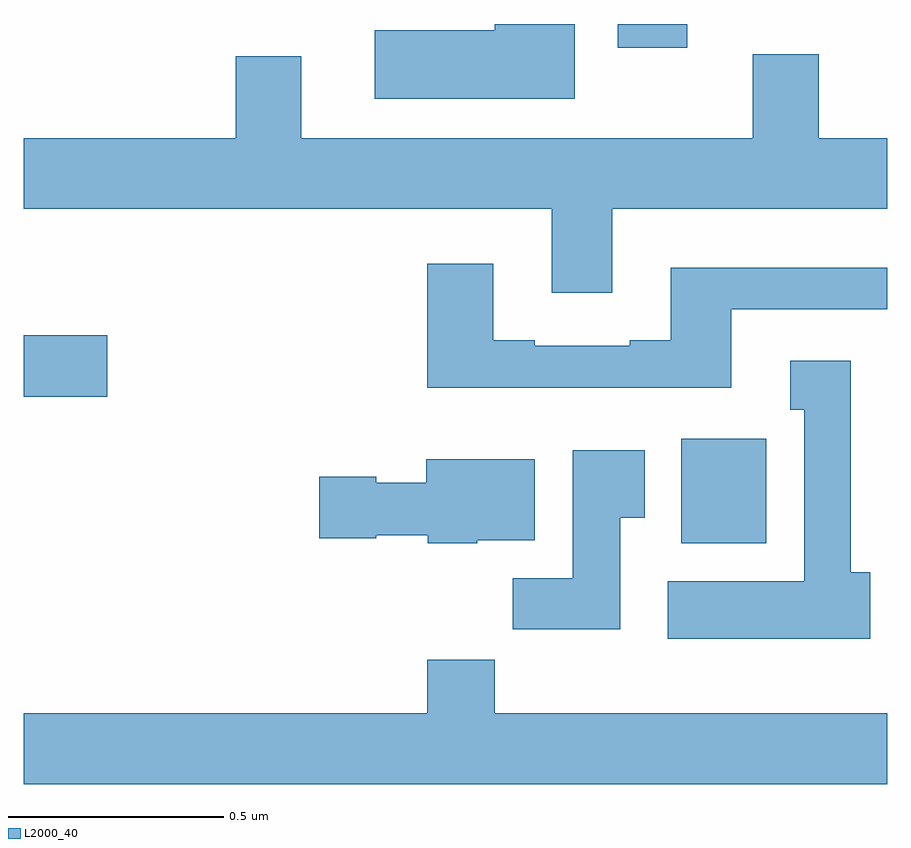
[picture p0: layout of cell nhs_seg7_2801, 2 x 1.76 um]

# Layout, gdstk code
import gdstk
lib = gdstk.Library(unit=1e-6, precision=1e-09)
def R(c, l, rs):  # rectangles x0, y0, x1, y1
    for r in rs: c.add(gdstk.rectangle(r[:2], r[2:], *l))
def P(c, l, *ps):  # polygons
    for p in ps: c.add(gdstk.Polygon(p, *l))
L2000_40 = (2000, 40)

nhs_seg7_2801 = lib.new_cell('nhs_seg7_2801')
R(nhs_seg7_2801, L2000_40, [(151.523,1043.798,151.72,1044.04), (150,1044.137,150.193,1044.279), (151.376,1044.945,151.537,1045)])
P(nhs_seg7_2801, L2000_40, [(151.276,1045),(151.091,1045),(151.091,1044.985),(150.813,1044.985),(150.813,1044.827),(151.276,1044.827)],
  [(151.363,1044.572),(152,1044.572),(152,1044.736),(151.841,1044.736),(151.841,1044.93),(151.688,1044.93),(151.688,1044.736),(150.643,1044.736),(150.643,1044.925),(150.491,1044.925),(150.491,1044.736),(150,1044.736),(150,1044.572),(151.223,1044.572),(151.223,1044.378),(151.363,1044.378)],
  [(151.639,1044.339),(152,1044.339),(152,1044.436),(151.499,1044.436),(151.499,1044.268),(151.403,1044.268),(151.403,1044.255),(151.183,1044.255),(151.183,1044.268),(151.087,1044.268),(151.087,1044.445),(150.935,1044.445),(150.935,1044.158),(151.639,1044.158)],
  [(151.96,1043.73),(151.915,1043.73),(151.915,1044.22),(151.775,1044.22),(151.775,1044.107),(151.808,1044.107),(151.808,1043.71),(151.491,1043.71),(151.491,1043.576),(151.96,1043.576)],
  [(151.381,1043.857),(151.438,1043.857),(151.438,1044.013),(151.271,1044.013),(151.271,1043.716),(151.132,1043.716),(151.132,1043.598),(151.381,1043.598)],
  [(151.05,1043.804),(151.183,1043.804),(151.183,1043.992),(150.932,1043.992),(150.932,1043.938),(150.816,1043.938),(150.816,1043.951),(150.684,1043.951),(150.684,1043.809),(150.816,1043.809),(150.816,1043.816),(150.936,1043.816),(150.936,1043.798),(151.05,1043.798)],
  [(152,1043.404),(151.091,1043.404),(151.091,1043.528),(150.935,1043.528),(150.935,1043.404),(150,1043.404),(150,1043.24),(152,1043.24)])

lib.write_gds('nhs_seg7_2801.gds')
